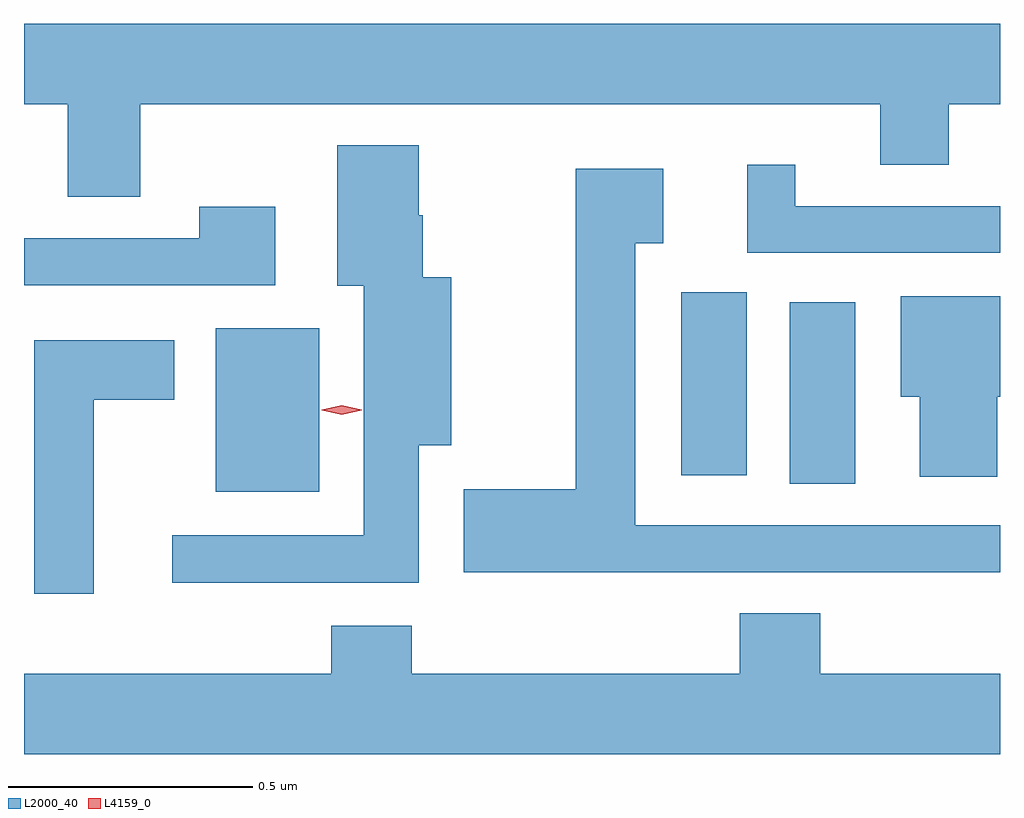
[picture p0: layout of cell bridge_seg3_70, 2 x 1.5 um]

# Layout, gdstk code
import gdstk
lib = gdstk.Library(unit=1e-6, precision=1e-09)
def R(c, l, rs):  # rectangles x0, y0, x1, y1
    for r in rs: c.add(gdstk.rectangle(r[:2], r[2:], *l))
def P(c, l, *ps):  # polygons
    for p in ps: c.add(gdstk.Polygon(p, *l))
L2000_40 = (2000, 40)
L4159_0 = (4159, 0)

bridge_seg3_70 = lib.new_cell('bridge_seg3_70')
R(bridge_seg3_70, L2000_40, [(598.856,696.125,599.068,696.46), (600.032,696.142,600.166,696.514), (599.81,696.159,599.944,696.534)])
P(bridge_seg3_70, L2000_40, [(598.701,696.92),(600.218,696.92),(600.218,696.796),(600.358,696.796),(600.358,696.92),(600.463,696.92),(600.463,697.084),(598.463,697.084),(598.463,696.92),(598.553,696.92),(598.553,696.73),(598.701,696.73)],
  [(599.272,696.221),(599.338,696.221),(599.338,696.565),(599.28,696.565),(599.28,696.692),(599.272,696.692),(599.272,696.835),(599.105,696.835),(599.105,696.548),(599.159,696.548),(599.159,696.036),(598.767,696.036),(598.767,695.939),(599.272,695.939)],
  [(600.463,696.711),(600.043,696.711),(600.043,696.796),(599.945,696.796),(599.945,696.615),(600.463,696.615)],
  [(599.812,695.961),(600.178,695.961),(600.178,695.96),(600.463,695.96),(600.463,696.057),(599.716,696.057),(599.716,696.635),(599.773,696.635),(599.773,696.787),(599.594,696.787),(599.594,696.131),(599.364,696.131),(599.364,695.96),(599.812,695.96)],
  [(598.978,696.709),(598.822,696.709),(598.822,696.645),(598.463,696.645),(598.463,696.549),(598.978,696.549)],
  [(600.457,696.32),(600.463,696.32),(600.463,696.526),(600.26,696.526),(600.26,696.32),(600.299,696.32),(600.299,696.156),(600.457,696.156)],
  [(598.606,696.314),(598.771,696.314),(598.771,696.436),(598.484,696.436),(598.484,695.916),(598.606,695.916)],
  [(600.463,695.752),(600.095,695.752),(600.095,695.876),(599.93,695.876),(599.93,695.752),(599.258,695.752),(599.258,695.851),(599.093,695.851),(599.093,695.752),(598.463,695.752),(598.463,695.588),(600.463,695.588)])
P(bridge_seg3_70, L4159_0, [(599.114,696.283),(599.073,696.292),(599.073,696.292),(599.073,696.293),(599.114,696.303),(599.155,696.293),(599.155,696.293),(599.155,696.292)])

lib.write_gds('bridge_seg3_70.gds')
